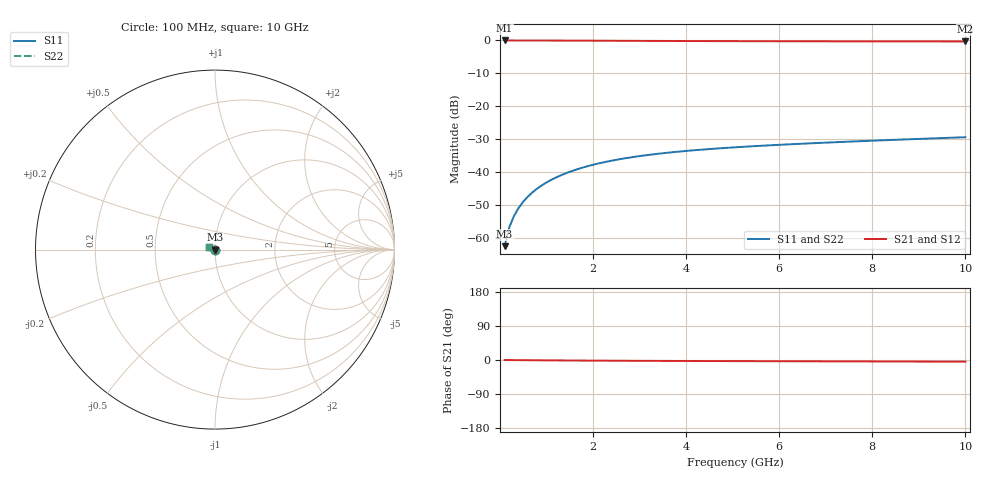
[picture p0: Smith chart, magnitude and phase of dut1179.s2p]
! Touchstone file exported from HFSS 2024.1.0
!  File:  C:/UserFiles/LocalFiles/RDL_TSV_Batchsim/temp_TSV1_1179_1780074505.aedt
!  Generated:  01:14:55 AM May 30, 2026
!  Design:  TSV1
!  Project:  temp_TSV1_1179_1780074505
!  Setup:  Setup1
!  Solution:  Sweep
! Variables:
!  dtsv = 7.41um
!  hbump = 3um
!  htsv = 65.57um
!  lrdl = 252.1521522um
!  p = 40
!  p1 = 49.49um
!  t = 500um
!  trdl = 3um
!  wrdl = 24.89489489um
# GHz S MA R 50.000000
! Terminal data exported
! Port[1] = TSV22_T1
! Port[2] = TSV22_T2
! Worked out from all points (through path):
!   100 points, 100 MHz to 10 GHz, reference 50 ohm
!   highest |S21| = 0.00 dB at 100 MHz (marker M1); lowest = -0.3 dB at 10 GHz (marker M2)
!   lowest |S11| = -62.5 dB at 100 MHz (marker M3), VSWR 1.00, Z = 50 - j0.072 ohm
!   |S11| at or under -10 dB: start of sweep to end of sweep
!   |S22| runs from -62.5 to -29.4 dB; largest |S21 - S12| = 3.3e-15
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0.1  0.0007488 -73.9  0.9997 -0.1  0.9997 -0.1  0.0007488 -73.9
! Gamma 0 0 0 0
! Port Impedance 50 0 50 0
0.2  0.001441 -84.8  0.9997 -0.2  0.9997 -0.2  0.001441 -84.8
0.3  0.002144 -90.0  0.9995 -0.3  0.9995 -0.3  0.002144 -90.0
0.4  0.002846 -93.6  0.9993 -0.4  0.9993 -0.4  0.002846 -93.6
0.5  0.003547 -96.6  0.9991 -0.5  0.9991 -0.5  0.003547 -96.6
0.6  0.004243 -99.2  0.9988 -0.6  0.9988 -0.6  0.004243 -99.2
0.7  0.004933 -101.6  0.9985 -0.6  0.9985 -0.6  0.004933 -101.6
0.8  0.005616 -103.9  0.9981 -0.7  0.9981 -0.7  0.005616 -103.9
0.9  0.00629 -106.1  0.9977 -0.8  0.9977 -0.8  0.00629 -106.1
1.1  0.007608 -110.3  0.9967 -1.0  0.9967 -1.0  0.007608 -110.3
1.4  0.009498 -116.3  0.9952 -1.2  0.9952 -1.2  0.009498 -116.3
1.6  0.01069 -120.0  0.994 -1.4  0.994 -1.4  0.01069 -120.0
1.8  0.01183 -123.6  0.9928 -1.5  0.9928 -1.5  0.01183 -123.6
2.1  0.01343 -128.8  0.9909 -1.7  0.9909 -1.7  0.01343 -128.8
2.5  0.01536 -135.2  0.9884 -1.9  0.9884 -1.9  0.01536 -135.2
2.9  0.01709 -141.2  0.9859 -2.1  0.9859 -2.1  0.01709 -141.2
3.4  0.01898 -148.1  0.9831 -2.3  0.9831 -2.3  0.01898 -148.1
4.2  0.02154 -157.8  0.9791 -2.6  0.9791 -2.6  0.02154 -157.8
5.1  0.02391 -167.3  0.9754 -2.9  0.9754 -2.9  0.02391 -167.3
6.7  0.02742 179.0  0.9708 -3.4  0.9708 -3.4  0.02741 179.0
8.4  0.03076 167.4  0.9676 -3.9  0.9676 -3.9  0.03076 167.4
10  0.03388 158.5  0.9654 -4.4  0.9654 -4.4  0.03387 158.5
